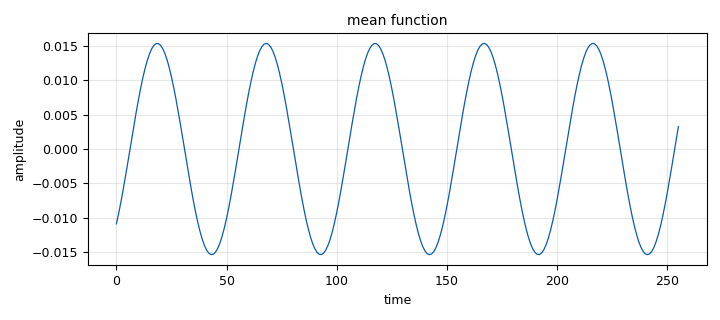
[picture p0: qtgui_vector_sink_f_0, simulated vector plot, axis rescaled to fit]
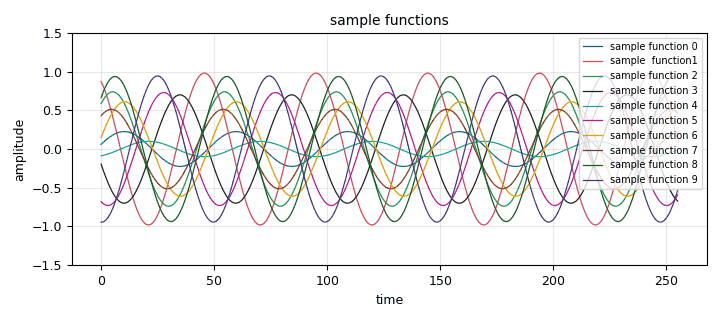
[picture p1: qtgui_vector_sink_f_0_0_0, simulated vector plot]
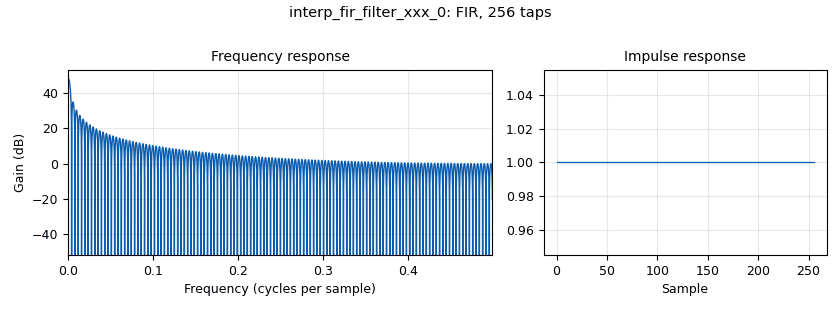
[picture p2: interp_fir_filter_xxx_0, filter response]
<?xml version='1.0' encoding='utf-8'?>
<?grc format='1' created='3.7.13'?>
<flow_graph>
<block>
<key>options</key>
<param><key>id</key><value>top_block</value></param>
<param><key>generate_options</key><value>qt_gui</value></param>
<param><key>run</key><value>run_stop</value></param>
</block>
<block>
<key>variable</key>
<param><key>id</key><value>N</value></param>
<param><key>value</key><value>256</value></param>
</block>
<block>
<key>variable_qtgui_check_box</key>
<param><key>id</key><value>run_stop</value></param>
<param><key>value</key><value>True</value></param>
<param><key>false</key><value>False</value></param>
<param><key>gui_hint</key><value>0,0,1,1</value></param>
<param><key>label</key><value>Inicial/Parar</value></param>
<param><key>true</key><value>True</value></param>
<param><key>type</key><value>int</value></param>
</block>
<block>
<key>variable</key>
<param><key>id</key><value>samp_rate</value></param>
<param><key>value</key><value>32000</value></param>
</block>
<block>
<key>E3TRadio_vector_average_hob</key>
<param><key>id</key><value>E3TRadio_vector_average_hob_0</value></param>
<param><key>_enabled</key><value>0</value></param>
<param><key>Nensayos</key><value>100000000</value></param>
<param><key>N</key><value>N</value></param>
</block>
<block>
<key>epy_block</key>
<param><key>id</key><value>VCO_hob</value></param>
<param><key>_source_code</key><value>import math
import numpy as np
from gnuradio import gr

class blk(gr.sync_block):
    """genera una senoidad cuyos parametros pueden ser manipulados por las senales entrantes asi: la primera senal manipula la amplitud; la segunda la frecuencia; la tercera la fase"""
    def __init__(self):  # only default arguments here
        gr.sync_block.__init__(
            self,
            name='VCO_hob',   # will show up in GRC
            in_sig=[np.float32, np.float32, np.float32],
            out_sig=[np.float32]
        )
        self.n_m=0 # guarda el ultimo valor de n

    def work(self, input_items, output_items):
        A=input_items[0]
        F=input_items[1]
        P=input_items[2]
        out=output_items[0]
        L=len(A)
        n=np.linspace(self.n_m, self.n_m+L-1,L)
        self.n_m += L
        out[:]=A*np.cos(2*math.pi*F*n+P)
        return len(out)
</value></param>
</block>
<block>
<key>analog_const_source_x</key>
<param><key>id</key><value>analog_const_source_x_0_0</value></param>
<param><key>const</key><value>400000</value></param>
<param><key>type</key><value>float</value></param>
</block>
<block>
<key>analog_random_uniform_source_x</key>
<param><key>id</key><value>analog_random_uniform_source_x_0</value></param>
<param><key>maximum</key><value>1001</value></param>
<param><key>minimum</key><value>-1000</value></param>
<param><key>type</key><value>int</value></param>
<param><key>seed</key><value>24</value></param>
</block>
<block>
<key>blocks_int_to_float</key>
<param><key>id</key><value>blocks_int_to_float_0</value></param>
<param><key>scale</key><value>1</value></param>
</block>
<block>
<key>blocks_multiply_const_vxx</key>
<param><key>id</key><value>blocks_multiply_const_vxx_0</value></param>
<param><key>const</key><value>1/1000.</value></param>
<param><key>type</key><value>float</value></param>
</block>
<block>
<key>blocks_multiply_const_vxx</key>
<param><key>id</key><value>blocks_multiply_const_vxx_0_0</value></param>
<param><key>const</key><value>math.pi</value></param>
<param><key>type</key><value>float</value></param>
</block>
<block>
<key>blocks_null_sink</key>
<param><key>id</key><value>blocks_null_sink_0</value></param>
<param><key>bus_conns</key><value>[[0,],]</value></param>
<param><key>type</key><value>float</value></param>
</block>
<block>
<key>blocks_null_sink</key>
<param><key>id</key><value>blocks_null_sink_0_0</value></param>
<param><key>bus_conns</key><value>[[0,],]</value></param>
<param><key>type</key><value>float</value></param>
</block>
<block>
<key>blocks_stream_to_streams</key>
<param><key>id</key><value>blocks_stream_to_streams_0</value></param>
<param><key>type</key><value>float</value></param>
<param><key>num_streams</key><value>10</value></param>
<param><key>vlen</key><value>N</value></param>
</block>
<block>
<key>blocks_stream_to_vector</key>
<param><key>id</key><value>blocks_stream_to_vector_0</value></param>
<param><key>type</key><value>float</value></param>
<param><key>num_items</key><value>N</value></param>
</block>
<block>
<key>epy_block</key>
<param><key>id</key><value>epy_block_0</value></param>
<param><key>_source_code</key><value>import numpy
from gnuradio import gr
class vec_mean_e_ff(gr.sync_block):
    """
El bloque vec_mean_e_ff recibe una senal con tramas de tamano fijo de
N valores y va entregando una trama del mismo tamano que corresponde a
la trama media de todas las tramas que va recibiendo. Los parametros usados son:
N: Es el tamano del vector o trama
Nensayos: Es el umbral que limita el numero maximo de promedios correctamente
realizados. Cuando se supera Nensayos, la trama media deja de calcularse y
se mantiene el ultimo resultado.
    """
    def __init__ (self, N=256, Nensayos=10000000):
        gr.sync_block.__init__(self, name ="vec_mean_e_ff", in_sig =[(numpy.float32, N)],out_sig =[(numpy.float32,N)])

        # Nuestras variables especificas
        self.N=N
        self.Nensayos = numpy.uint64 = Nensayos
        self.med = numpy.empty(N, dtype = numpy.float64)
        self.count = numpy.uint64 =0

    def work (self, input_items, output_items):

        # Traduccion de matrices 3D a 2D:
        in0 = input_items[0]
        #  -  input_items es una matriz 3D
        #  -  pero in0 es una matriz 2D.
        #       * Cada columna es una muestra de la senal. Hay N muestras, es constante
        #       * Cada fila es una trama de la senal. es variable

        # indentificacion del tamano L de la matriz in0
        L= in0.shape
        #  L[0] es el numero de filas = numero de tramas de senal
        #  L[1] = N es el numero de columnas = muestras de la senal en cada trama 

        out0 = output_items[0]

        # conteo de tramas procesadas y calculo de la Esperanza
        if self.count &lt; self.Nensayos:
            self.count += L[0]

            # Esperanza de las funciones muestras ( filas de matriz ) que tiene in0 :
            mean = in0.mean(0)

            # ajuste de la Esoeranza ya calculada , con la Esperanza de in0 :
            self.med = (self.med*(self.count-L[0])+mean*L[0])/self.count

        # Entrega de resultados
        out0[:]= self.med
        return len (out0)
</value></param>
<param><key>N</key><value>256</value></param>
<param><key>Nensayos</key><value>10000000</value></param>
</block>
<block>
<key>import</key>
<param><key>id</key><value>import_0</value></param>
<param><key>import</key><value>import numpy as np</value></param>
</block>
<block>
<key>import</key>
<param><key>id</key><value>import_0_0</value></param>
<param><key>import</key><value>import  math</value></param>
</block>
<block>
<key>interp_fir_filter_xxx</key>
<param><key>id</key><value>interp_fir_filter_xxx_0</value></param>
<param><key>interp</key><value>N</value></param>
<param><key>taps</key><value>np.array([1]*N)</value></param>
<param><key>type</key><value>fff</value></param>
</block>
<block>
<key>qtgui_vector_sink_f</key>
<param><key>id</key><value>qtgui_vector_sink_f_0</value></param>
<param><key>width1</key><value>3</value></param>
<param><key>name</key><value>"mean function"</value></param>
<param><key>showports</key><value>True</value></param>
<param><key>vlen</key><value>N</value></param>
<param><key>x_axis_label</key><value>"time"</value></param>
<param><key>x_start</key><value>0</value></param>
<param><key>x_step</key><value>1.0</value></param>
<param><key>ymax</key><value>0.004</value></param>
<param><key>ymin</key><value>-0.004</value></param>
<param><key>y_axis_label</key><value>"amplitude"</value></param>
</block>
<block>
<key>qtgui_vector_sink_f</key>
<param><key>id</key><value>qtgui_vector_sink_f_0_0_0</value></param>
<param><key>label1</key><value>sample function 0</value></param>
<param><key>width1</key><value>3</value></param>
<param><key>label10</key><value>sample function 9</value></param>
<param><key>width10</key><value>3</value></param>
<param><key>label2</key><value>sample  function1</value></param>
<param><key>width2</key><value>3</value></param>
<param><key>label3</key><value>sample function 2</value></param>
<param><key>width3</key><value>3</value></param>
<param><key>label4</key><value>sample function 3</value></param>
<param><key>width4</key><value>3</value></param>
<param><key>label5</key><value>sample function 4</value></param>
<param><key>width5</key><value>3</value></param>
<param><key>label6</key><value>sample function 5</value></param>
<param><key>width6</key><value>3</value></param>
<param><key>label7</key><value>sample function 6</value></param>
<param><key>width7</key><value>3</value></param>
<param><key>label8</key><value>sample function 7</value></param>
<param><key>width8</key><value>3</value></param>
<param><key>label9</key><value>sample function 8</value></param>
<param><key>width9</key><value>3</value></param>
<param><key>name</key><value>"sample functions"</value></param>
<param><key>nconnections</key><value>10</value></param>
<param><key>showports</key><value>True</value></param>
<param><key>vlen</key><value>N</value></param>
<param><key>x_axis_label</key><value>"time"</value></param>
<param><key>x_start</key><value>0</value></param>
<param><key>x_step</key><value>1.0</value></param>
<param><key>ymax</key><value>1.5</value></param>
<param><key>ymin</key><value>-1.5</value></param>
<param><key>y_axis_label</key><value>"amplitude"</value></param>
</block>
<block>
<key>virtual_sink</key>
<param><key>id</key><value>virtual_sink_0</value></param>
<param><key>stream_id</key><value>s1</value></param>
</block>
<block>
<key>virtual_sink</key>
<param><key>id</key><value>virtual_sink_0_1</value></param>
<param><key>stream_id</key><value>s2</value></param>
</block>
<block>
<key>virtual_source</key>
<param><key>id</key><value>virtual_source_0</value></param>
<param><key>stream_id</key><value>s1</value></param>
</block>
<block>
<key>virtual_source</key>
<param><key>id</key><value>virtual_source_0_1</value></param>
<param><key>stream_id</key><value>s2</value></param>
</block>
<connection><source_block_id>E3TRadio_vector_average_hob_0</source_block_id><sink_block_id>qtgui_vector_sink_f_0</sink_block_id><source_key>0</source_key><sink_key>0</sink_key></connection>
<connection><source_block_id>VCO_hob</source_block_id><sink_block_id>blocks_null_sink_0</sink_block_id><source_key>0</source_key><sink_key>0</sink_key></connection>
<connection><source_block_id>VCO_hob</source_block_id><sink_block_id>virtual_sink_0_1</sink_block_id><source_key>0</source_key><sink_key>0</sink_key></connection>
<connection><source_block_id>analog_const_source_x_0_0</source_block_id><sink_block_id>VCO_hob</sink_block_id><source_key>0</source_key><sink_key>1</sink_key></connection>
<connection><source_block_id>analog_random_uniform_source_x_0</source_block_id><sink_block_id>blocks_int_to_float_0</sink_block_id><source_key>0</source_key><sink_key>0</sink_key></connection>
<connection><source_block_id>blocks_int_to_float_0</source_block_id><sink_block_id>blocks_multiply_const_vxx_0</sink_block_id><source_key>0</source_key><sink_key>0</sink_key></connection>
<connection><source_block_id>blocks_multiply_const_vxx_0</source_block_id><sink_block_id>interp_fir_filter_xxx_0</sink_block_id><source_key>0</source_key><sink_key>0</sink_key></connection>
<connection><source_block_id>blocks_multiply_const_vxx_0_0</source_block_id><sink_block_id>VCO_hob</sink_block_id><source_key>0</source_key><sink_key>2</sink_key></connection>
<connection><source_block_id>blocks_stream_to_streams_0</source_block_id><sink_block_id>qtgui_vector_sink_f_0_0_0</sink_block_id><source_key>0</source_key><sink_key>0</sink_key></connection>
<connection><source_block_id>blocks_stream_to_streams_0</source_block_id><sink_block_id>qtgui_vector_sink_f_0_0_0</sink_block_id><source_key>1</source_key><sink_key>1</sink_key></connection>
<connection><source_block_id>blocks_stream_to_streams_0</source_block_id><sink_block_id>qtgui_vector_sink_f_0_0_0</sink_block_id><source_key>2</source_key><sink_key>2</sink_key></connection>
<connection><source_block_id>blocks_stream_to_streams_0</source_block_id><sink_block_id>qtgui_vector_sink_f_0_0_0</sink_block_id><source_key>3</source_key><sink_key>3</sink_key></connection>
<connection><source_block_id>blocks_stream_to_streams_0</source_block_id><sink_block_id>qtgui_vector_sink_f_0_0_0</sink_block_id><source_key>4</source_key><sink_key>4</sink_key></connection>
<connection><source_block_id>blocks_stream_to_streams_0</source_block_id><sink_block_id>qtgui_vector_sink_f_0_0_0</sink_block_id><source_key>5</source_key><sink_key>5</sink_key></connection>
<connection><source_block_id>blocks_stream_to_streams_0</source_block_id><sink_block_id>qtgui_vector_sink_f_0_0_0</sink_block_id><source_key>6</source_key><sink_key>6</sink_key></connection>
<connection><source_block_id>blocks_stream_to_streams_0</source_block_id><sink_block_id>qtgui_vector_sink_f_0_0_0</sink_block_id><source_key>7</source_key><sink_key>7</sink_key></connection>
<connection><source_block_id>blocks_stream_to_streams_0</source_block_id><sink_block_id>qtgui_vector_sink_f_0_0_0</sink_block_id><source_key>8</source_key><sink_key>8</sink_key></connection>
<connection><source_block_id>blocks_stream_to_streams_0</source_block_id><sink_block_id>qtgui_vector_sink_f_0_0_0</sink_block_id><source_key>9</source_key><sink_key>9</sink_key></connection>
<connection><source_block_id>blocks_stream_to_vector_0</source_block_id><sink_block_id>E3TRadio_vector_average_hob_0</sink_block_id><source_key>0</source_key><sink_key>0</sink_key></connection>
<connection><source_block_id>blocks_stream_to_vector_0</source_block_id><sink_block_id>blocks_stream_to_streams_0</sink_block_id><source_key>0</source_key><sink_key>0</sink_key></connection>
<connection><source_block_id>blocks_stream_to_vector_0</source_block_id><sink_block_id>epy_block_0</sink_block_id><source_key>0</source_key><sink_key>0</sink_key></connection>
<connection><source_block_id>epy_block_0</source_block_id><sink_block_id>qtgui_vector_sink_f_0</sink_block_id><source_key>0</source_key><sink_key>0</sink_key></connection>
<connection><source_block_id>interp_fir_filter_xxx_0</source_block_id><sink_block_id>blocks_null_sink_0_0</sink_block_id><source_key>0</source_key><sink_key>0</sink_key></connection>
<connection><source_block_id>interp_fir_filter_xxx_0</source_block_id><sink_block_id>virtual_sink_0</sink_block_id><source_key>0</source_key><sink_key>0</sink_key></connection>
<connection><source_block_id>virtual_source_0</source_block_id><sink_block_id>VCO_hob</sink_block_id><source_key>0</source_key><sink_key>0</sink_key></connection>
<connection><source_block_id>virtual_source_0</source_block_id><sink_block_id>blocks_multiply_const_vxx_0_0</sink_block_id><source_key>0</source_key><sink_key>0</sink_key></connection>
<connection><source_block_id>virtual_source_0_1</source_block_id><sink_block_id>blocks_stream_to_vector_0</sink_block_id><source_key>0</source_key><sink_key>0</sink_key></connection>
</flow_graph>
